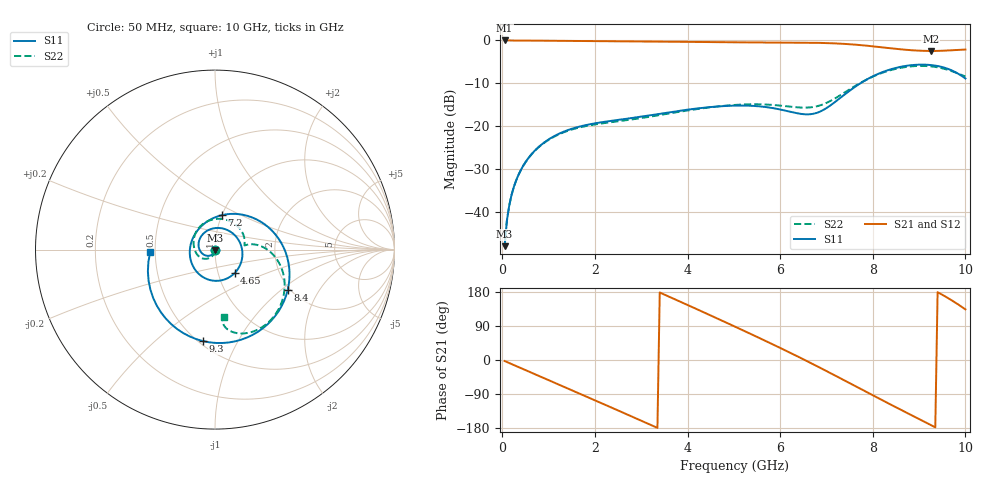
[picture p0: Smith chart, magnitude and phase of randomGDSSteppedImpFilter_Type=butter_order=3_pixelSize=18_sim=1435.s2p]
! freq	dB(S11)	phase(S11)	dB(S12)	phase(S12)
!  dB(S21)	phase(S21)	dB(S22)	phase(S22)
!S-par simulation data
#  GHz  S  DB  R 50
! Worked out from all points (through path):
!   200 points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, 50 MHz to 10 GHz, reference 50 ohm
!   highest |S21| = -0.01 dB at 50 MHz (marker M1); lowest = -2.4 dB at 9.25 GHz (marker M2)
!   group delay of S21, straight-line fit = 161 ps
!   lowest |S11| = -47.8 dB at 50 MHz (marker M3), VSWR 1.01, Z = 50 - j0.404 ohm
!   |S11| at or under -10 dB: start of sweep to 7.729 GHz
!   |S22| runs from -47.8 to -5.9 dB; largest |S21 - S12| = 0
!   S11 on the Smith chart (normalised r, x): 50 MHz: 1.00, -0.01; 4.65 GHz: 1.20, -0.32; 7.2 GHz: 1.00, +0.40; 8.4 GHz: 1.94, -1.12; 9.3 GHz: 0.53, -0.73; 10 GHz: 0.47, -0.01
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0.05  -47.85 -93.7  -0.01 -2.7  -0.01 -2.7  -47.85 -92.6
0.1  -41.86 -97.4  -0.01 -5.4  -0.01 -5.4  -41.86 -95.1
0.2  -35.93 -104.4  -0.01 -10.7  -0.01 -10.7  -35.94 -99.8
0.5  -28.32 -124.6  -0.03 -26.6  -0.03 -26.6  -28.36 -112.8
1.15  -22.09 -168.2  -0.08 -61.1  -0.08 -61.1  -22.21 -138.6
1.75  -19.82 149.3  -0.13 -93.0  -0.13 -93.0  -20.04 -159.7
2.65  -18.26 81.0  -0.20 -141.2  -0.20 -141.2  -18.59 173.3
3.4  -17.06 25.6  -0.27 178.1  -0.27 178.1  -17.36 148.7
4  -16.10 -13.3  -0.34 145.2  -0.34 145.2  -16.29 122.7
4.65  -15.36 -50.3  -0.40 109.2  -0.40 109.2  -15.35 88.5
5.05  -15.15 -72.3  -0.44 86.7  -0.44 86.7  -14.98 66.2
5.5  -15.28 -98.8  -0.47 61.0  -0.47 61.0  -14.84 42.1
6  -16.06 -134.7  -0.49 31.9  -0.49 31.9  -15.15 20.0
6.7  -17.09 146.7  -0.54 -10.3  -0.54 -10.3  -15.51 8.1
7.2  -14.19 79.1  -0.69 -41.8  -0.69 -41.8  -13.38 7.9
7.75  -9.85 23.0  -1.10 -77.3  -1.10 -77.3  -9.77 -4.9
8.35  -6.84 -25.5  -1.78 -115.3  -1.78 -115.3  -7.02 -29.7
8.4  -6.67 -29.2  -1.84 -118.4  -1.84 -118.4  -6.87 -31.9
9.25  -5.72 -93.4  -2.45 -171.1  -2.45 -171.1  -6.03 -68.2
9.3  -5.78 -97.6  -2.45 -174.4  -2.45 -174.4  -6.09 -70.0
9.65  -6.71 -130.6  -2.32 161.5  -2.32 161.5  -6.93 -81.0
10  -8.85 -177.9  -2.12 133.6  -2.12 133.6  -8.38 -82.8
